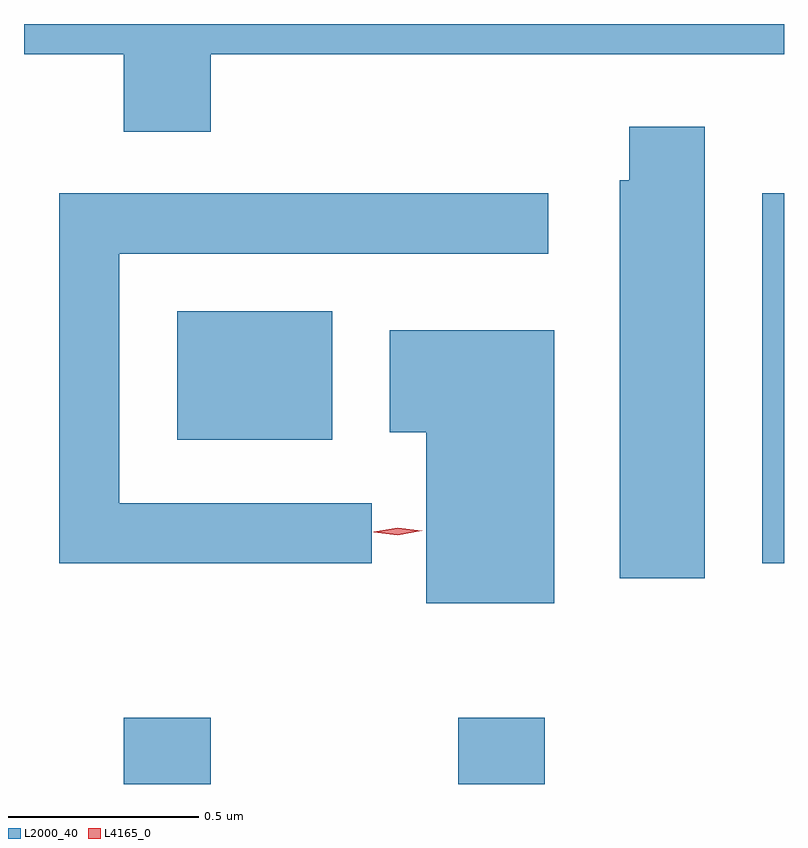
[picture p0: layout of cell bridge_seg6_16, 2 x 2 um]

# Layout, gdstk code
import gdstk
lib = gdstk.Library(unit=1e-6, precision=1e-09)
def R(c, l, rs):  # rectangles x0, y0, x1, y1
    for r in rs: c.add(gdstk.rectangle(r[:2], r[2:], *l))
def P(c, l, *ps):  # polygons
    for p in ps: c.add(gdstk.Polygon(p, *l))
L2000_40 = (2000, 40)
L4165_0 = (4165, 0)

bridge_seg6_16 = lib.new_cell('bridge_seg6_16')
R(bridge_seg6_16, L2000_40, [(1450.531,1608.055,1450.759,1608.229), (1451.411,1608.055,1451.639,1608.229), (1452.211,1608.636,1452.268,1609.609), (1450.671,1608.961,1451.079,1609.299)])
P(bridge_seg6_16, L2000_40, [(1450.759,1609.976),(1452.268,1609.976),(1452.268,1610.055),(1450.268,1610.055),(1450.268,1609.976),(1450.531,1609.976),(1450.531,1609.771),(1450.759,1609.771)],
  [(1452.059,1609.784),(1451.861,1609.784),(1451.861,1609.644),(1451.836,1609.644),(1451.836,1608.596),(1452.059,1608.596)],
  [(1451.183,1608.794),(1450.519,1608.794),(1450.519,1609.451),(1451.648,1609.451),(1451.648,1609.609),(1450.361,1609.609),(1450.361,1608.636),(1451.183,1608.636)],
  [(1451.664,1609.249),(1451.231,1609.249),(1451.231,1608.981),(1451.326,1608.981),(1451.326,1608.531),(1451.664,1608.531)])
P(bridge_seg6_16, L4165_0, [(1451.252,1608.71),(1451.188,1608.718),(1451.188,1608.719),(1451.188,1608.719),(1451.252,1608.73),(1451.315,1608.722),(1451.316,1608.722),(1451.315,1608.722)])

lib.write_gds('bridge_seg6_16.gds')
